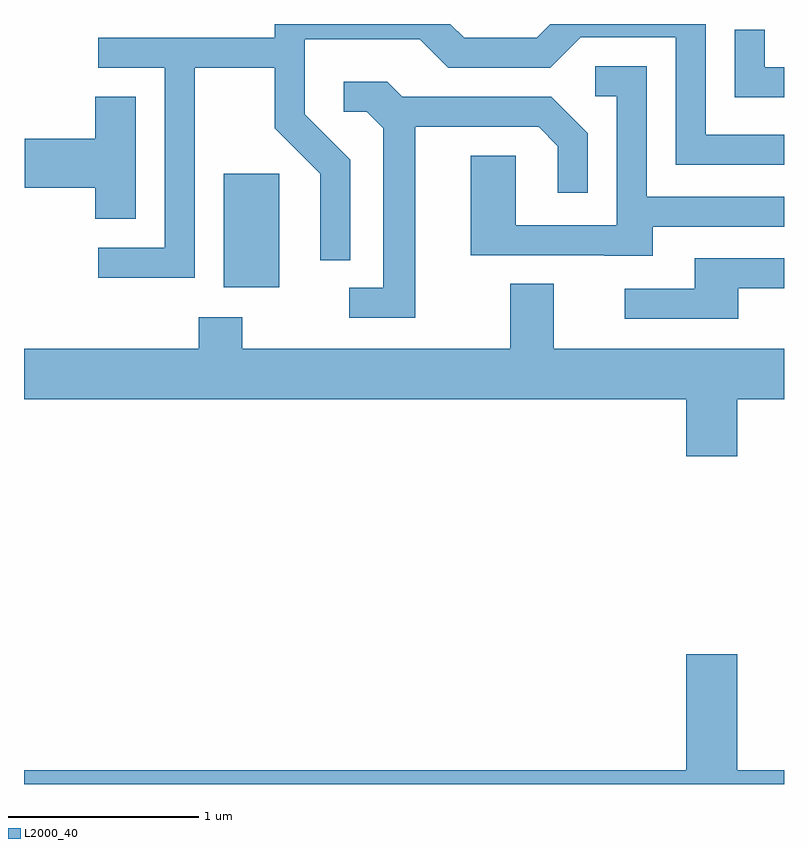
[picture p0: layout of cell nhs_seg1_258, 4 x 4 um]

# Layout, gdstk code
import gdstk
lib = gdstk.Library(unit=1e-6, precision=1e-09)
def R(c, l, rs):  # rectangles x0, y0, x1, y1
    for r in rs: c.add(gdstk.rectangle(r[:2], r[2:], *l))
def P(c, l, *ps):  # polygons
    for p in ps: c.add(gdstk.Polygon(p, *l))
L2000_40 = (2000, 40)

nhs_seg1_258 = lib.new_cell('nhs_seg1_258')
R(nhs_seg1_258, L2000_40, [(192.661,962.326,192.954,962.924)])
P(nhs_seg1_258, L2000_40, [(192.509,963.481),(192.931,963.481),(192.931,963.164),(193.171,962.924),(193.171,962.468),(193.329,962.468),(193.329,962.997),(193.089,963.237),(193.089,963.631),(193.694,963.631),(193.844,963.481),(194.382,963.481),(194.542,963.641),(195.041,963.641),(195.041,962.971),(195.611,962.971),(195.611,963.129),(195.199,963.129),(195.199,963.712),(194.382,963.712),(194.309,963.639),(193.927,963.639),(193.854,963.712),(192.931,963.712),(192.931,963.639),(192.003,963.639),(192.003,963.481),(192.351,963.481),(192.351,962.534),(192.003,962.534),(192.003,962.376),(192.509,962.376)],
  [(195.611,963.484),(195.509,963.484),(195.509,963.683),(195.351,963.683),(195.351,963.326),(195.611,963.326)],
  [(194.919,962.646),(195.611,962.646),(195.611,962.804),(194.889,962.804),(194.889,963.489),(194.618,963.489),(194.618,963.331),(194.731,963.331),(194.731,962.654),(194.199,962.654),(194.199,963.019),(193.961,963.019),(193.961,962.496),(194.665,962.496),(194.665,962.491),(194.919,962.491)],
  [(193.669,963.171),(194.319,963.171),(194.421,963.069),(194.421,962.823),(194.579,962.823),(194.579,963.137),(194.387,963.329),(193.602,963.329),(193.522,963.409),(193.293,963.409),(193.293,963.251),(193.414,963.251),(193.501,963.164),(193.501,962.324),(193.323,962.324),(193.323,962.166),(193.669,962.166)],
  [(192.199,963.329),(191.986,963.329),(191.986,963.109),(191.616,963.109),(191.616,962.851),(191.986,962.851),(191.986,962.686),(192.199,962.686)],
  [(195.369,962.321),(195.611,962.321),(195.611,962.479),(195.141,962.479),(195.141,962.319),(194.773,962.319),(194.773,962.161),(195.369,962.161)],
  [(195.364,961.736),(195.611,961.736),(195.611,962.004),(194.399,962.004),(194.399,962.344),(194.171,962.344),(194.171,962.004),(192.759,962.004),(192.759,962.169),(192.531,962.169),(192.531,962.004),(191.611,962.004),(191.611,961.736),(195.096,961.736),(195.096,961.436),(195.364,961.436)],
  [(195.611,959.784),(195.364,959.784),(195.364,960.394),(195.096,960.394),(195.096,959.784),(191.611,959.784),(191.611,959.712),(195.611,959.712)])

lib.write_gds('nhs_seg1_258.gds')
